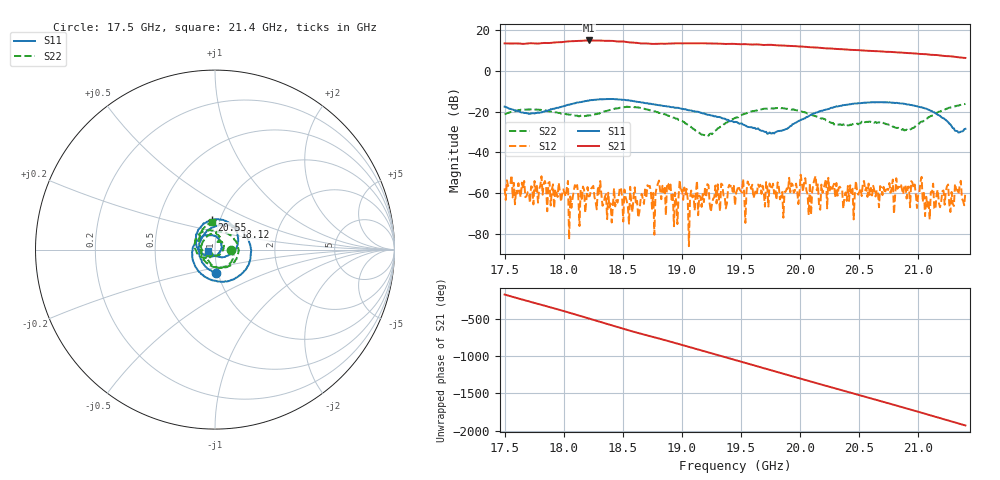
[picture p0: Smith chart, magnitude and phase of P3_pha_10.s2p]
!Created with skrf (http://scikit-rf.org).
# GHz S RI R 50.0
!freq ReS11 ImS11 ReS21 ImS21 ReS12 ImS12 ReS22 ImS22
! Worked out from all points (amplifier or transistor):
!   401 points, 17.5 GHz to 21.4 GHz, reference 50 ohm
!   highest |S21| = 15.0 dB at 18.21 GHz (marker M1)
!   |S21| within 3 dB of that: start of sweep to 20.01 GHz
!   unconditionally stable (mu >= 1): start of sweep to end of sweep
!   at 18.14 GHz: K = 72.68, MAG = 15.0 dB, |S12| = -58.4 dB
!   at 19.45 GHz: K = 217.05, MAG = 13.3 dB, |S12| = -66.1 dB
!   at 21.4 GHz: K = 220.00, MAG = 6.5 dB, |S12| = -59.5 dB
!   S11 on the Smith chart (normalised r, x): 17.5 GHz: 0.98, -0.26; 18.12 GHz: 1.21, +0.31; 20.55 GHz: 0.92, +0.31; 21.4 GHz: 0.93, -0.01
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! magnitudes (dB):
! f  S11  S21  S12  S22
! 17.5 GHz  -17.5  13.6  -57.7  -21.2
! 18.12 GHz  -15.5  14.8  -62.0  -22.3
! 18.15 GHz  -15.2  14.9  -63.9  -21.9
! 18.21 GHz  -14.6  15.0  -61.7  -21.9
! 18.63 GHz  -15.2  13.7  -72.1  -17.9
! 18.77 GHz  -16.4  13.3  -80.6  -19.8
! 18.81 GHz  -16.8  13.5  -53.9  -20.6
! 18.89 GHz  -17.5  13.5  -58.2  -22.2
! 18.95 GHz  -18.1  13.6  -64.4  -23.5
! 19 GHz  -18.6  13.7  -58.4  -24.6
! 19.07 GHz  -19.4  13.7  -62.1  -27.1
! 19.21 GHz  -21.4  13.6  -62.2  -31.7
! 19.25 GHz  -21.9  13.5  -65.6  -31.1
! 19.45 GHz  -25.0  13.3  -66.1  -23.2
! 19.77 GHz  -30.4  12.8  -55.4  -18.4
! 20.1 GHz  -21.3  11.6  -59.5  -21.7
! 20.55 GHz  -15.6  10.0  -58.7  -25.2
! 20.76 GHz  -15.4  9.4  -55.1  -26.6
! 21.03 GHz  -17.9  8.4  -52.1  -24.9
! 21.08 GHz  -18.8  8.2  -66.8  -23.3
! 21.23 GHz  -24.1  7.4  -59.1  -18.8
! 21.4 GHz  -28.4  6.4  -59.5  -16.2
